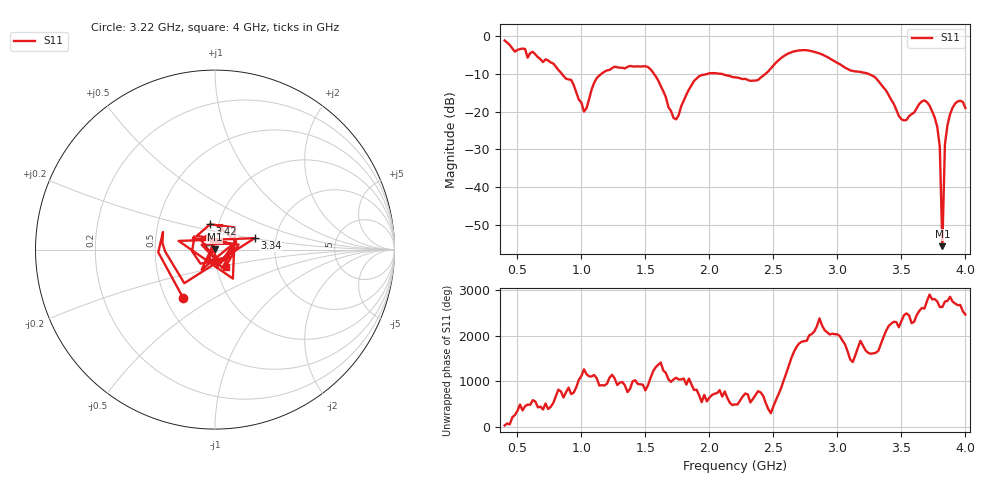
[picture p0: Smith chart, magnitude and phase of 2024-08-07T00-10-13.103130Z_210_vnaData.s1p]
!Created with skrf (http://scikit-rf.org).
# Hz S RI R 50.0
!freq ReS11 ImS11
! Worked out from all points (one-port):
!   181 points, 400 MHz to 4 GHz, reference 50 ohm
!   lowest |S11| = -55.6 dB at 3.82 GHz (marker M1), VSWR 1.00, Z = 50 + j0.159 ohm
!   |S11| at or under -10 dB: 1.567 GHz to 1.988 GHz (421.2 MHz wide, 23.7 % of centre); 2.085 GHz to 2.439 GHz (354.2 MHz wide, 15.7 % of centre); 3.241 GHz to end of sweep (the widest 3 of 4)
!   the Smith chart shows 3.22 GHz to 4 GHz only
!   S11 on the Smith chart (normalised r, x): 3.22 GHz: 0.61, -0.37; 3.34 GHz: 1.55, +0.21; 3.42 GHz: 0.91, +0.26; 4 GHz: 1.10, -0.21
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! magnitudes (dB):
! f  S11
! 400 MHz  -1.2
! 860 MHz  -10.6
! 920 MHz  -11.6
! 1.02 GHz  -20.0
! 1.12 GHz  -11.1
! 1.3 GHz  -8.4
! 1.52 GHz  -8.2
! 1.6 GHz  -11.8
! 1.72 GHz  -21.7
! 1.76 GHz  -21.0
! 1.92 GHz  -10.7
! 2.2 GHz  -10.9
! 2.38 GHz  -11.6
! 2.66 GHz  -4.1
! 3.1 GHz  -9.1
! 3.22 GHz  -9.8
! 3.34 GHz  -12.8
! 3.42 GHz  -16.8
! 3.5 GHz  -22.0
! 3.56 GHz  -21.2
! 3.68 GHz  -17.1
! 3.78 GHz  -24.0
! 3.8 GHz  -29.3
! 3.82 GHz  -55.6
! 3.84 GHz  -28.7
! 3.86 GHz  -23.5
! 3.92 GHz  -17.9
! 4 GHz  -19.0
